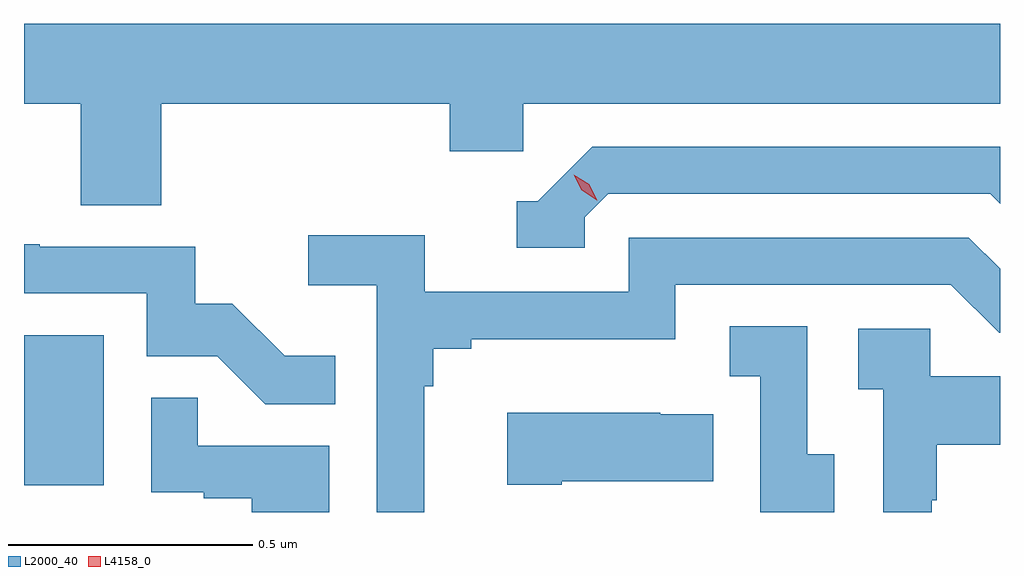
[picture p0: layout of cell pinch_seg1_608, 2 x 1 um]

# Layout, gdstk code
import gdstk
lib = gdstk.Library(unit=1e-6, precision=1e-09)
def R(c, l, rs):  # rectangles x0, y0, x1, y1
    for r in rs: c.add(gdstk.rectangle(r[:2], r[2:], *l))
def P(c, l, *ps):  # polygons
    for p in ps: c.add(gdstk.Polygon(p, *l))
L2000_40 = (2000, 40)
L4158_0 = (4158, 0)

pinch_seg1_608 = lib.new_cell('pinch_seg1_608')
R(pinch_seg1_608, L2000_40, [(1045.773,508.326,1045.936,508.633)])
P(pinch_seg1_608, L2000_40, [(1046.054,509.108),(1046.645,509.108),(1046.645,509.01),(1046.796,509.01),(1046.796,509.108),(1047.773,509.108),(1047.773,509.272),(1045.773,509.272),(1045.773,509.108),(1045.889,509.108),(1045.889,508.9),(1046.054,508.9)],
  [(1046.922,508.875),(1046.97,508.923),(1047.753,508.923),(1047.773,508.903),(1047.773,509.019),(1046.937,509.019),(1046.826,508.908),(1046.783,508.908),(1046.783,508.812),(1046.922,508.812)],
  [(1046.593,508.529),(1046.612,508.529),(1046.612,508.606),(1046.689,508.606),(1046.689,508.625),(1047.108,508.625),(1047.108,508.737),(1047.672,508.737),(1047.771,508.638),(1047.773,508.638),(1047.773,508.769),(1047.709,508.833),(1047.012,508.833),(1047.012,508.722),(1046.594,508.722),(1046.594,508.838),(1046.355,508.838),(1046.355,508.736),(1046.496,508.736),(1046.496,508.27),(1046.593,508.27)],
  [(1046.411,508.591),(1046.307,508.591),(1046.2,508.698),(1046.124,508.698),(1046.124,508.815),(1045.805,508.815),(1045.805,508.82),(1045.773,508.82),(1045.773,508.719),(1046.025,508.719),(1046.025,508.59),(1046.169,508.59),(1046.267,508.492),(1046.411,508.492)],
  [(1047.433,508.389),(1047.378,508.389),(1047.378,508.652),(1047.219,508.652),(1047.219,508.549),(1047.282,508.549),(1047.282,508.27),(1047.433,508.27)],
  [(1047.633,508.295),(1047.643,508.295),(1047.643,508.409),(1047.773,508.409),(1047.773,508.549),(1047.63,508.549),(1047.63,508.647),(1047.483,508.647),(1047.483,508.523),(1047.534,508.523),(1047.534,508.27),(1047.633,508.27)],
  [(1046.398,508.407),(1046.129,508.407),(1046.129,508.505),(1046.034,508.505),(1046.034,508.311),(1046.141,508.311),(1046.141,508.299),(1046.24,508.299),(1046.24,508.27),(1046.398,508.27)],
  [(1046.875,508.334),(1047.185,508.334),(1047.185,508.471),(1047.077,508.471),(1047.077,508.474),(1046.763,508.474),(1046.763,508.327),(1046.875,508.327)])
P(pinch_seg1_608, L4158_0, [(1046.947,508.91),(1046.916,508.93),(1046.9,508.962),(1046.9,508.962),(1046.9,508.962),(1046.931,508.943),(1046.948,508.91),(1046.948,508.91)])

lib.write_gds('pinch_seg1_608.gds')
